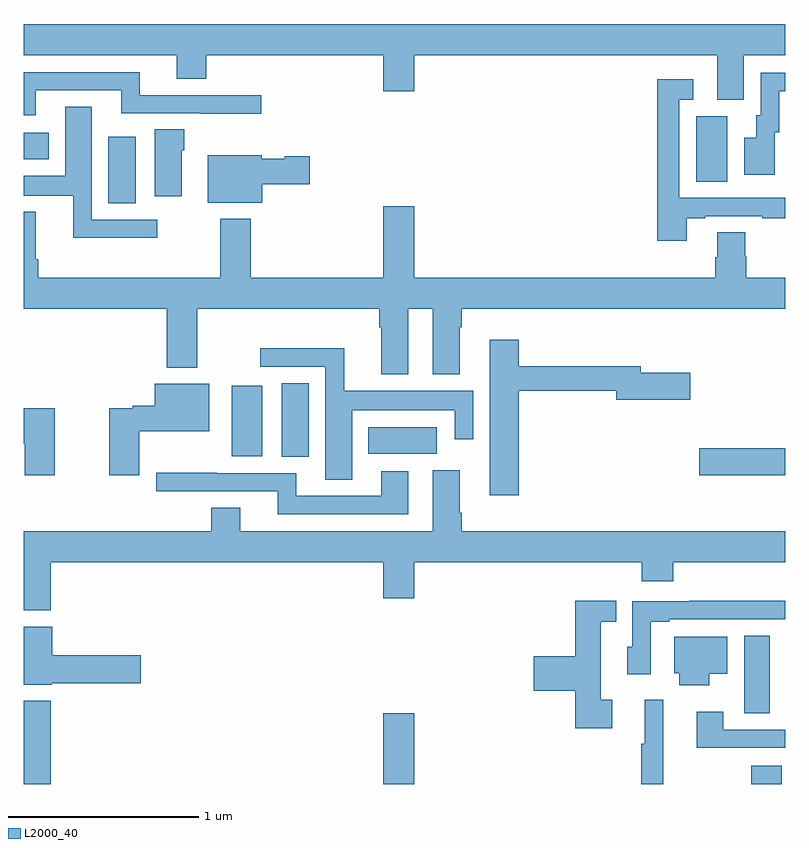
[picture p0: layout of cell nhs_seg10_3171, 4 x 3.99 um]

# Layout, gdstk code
import gdstk
lib = gdstk.Library(unit=1e-6, precision=1e-09)
def R(c, l, rs):  # rectangles x0, y0, x1, y1
    for r in rs: c.add(gdstk.rectangle(r[:2], r[2:], *l))
def P(c, l, *ps):  # polygons
    for p in ps: c.add(gdstk.Polygon(p, *l))
L2000_40 = (2000, 40)

nhs_seg10_3171 = lib.new_cell('nhs_seg10_3171')
R(nhs_seg10_3171, L2000_40, [(283,1284.5,283.142,1284.937), (284.888,1284.5,285.052,1284.871), (286.822,1284.5,286.982,1284.595), (286.784,1284.871,286.918,1285.28), (286.548,1286.122,287,1286.264), (284.354,1286.218,284.497,1286.606), (284.093,1286.222,284.254,1286.593), (284.81,1286.234,285.169,1286.374), (283.445,1287.55,283.588,1287.901), (286.532,1287.664,286.696,1288.008), (283,1287.782,283.132,1287.922)])
P(nhs_seg10_3171, L2000_40, [(286.783,1288.328),(287,1288.328),(287,1288.492),(283,1288.492),(283,1288.328),(283.805,1288.328),(283.805,1288.204),(283.958,1288.204),(283.958,1288.328),(284.888,1288.328),(284.888,1288.14),(285.052,1288.14),(285.052,1288.328),(286.643,1288.328),(286.643,1288.093),(286.783,1288.093)],
  [(283.063,1288.143),(283.511,1288.143),(283.511,1288.023),(283.927,1288.023),(283.927,1288.021),(284.248,1288.021),(284.248,1288.119),(283.61,1288.119),(283.61,1288.239),(283,1288.239),(283,1288.014),(283.063,1288.014)],
  [(286.945,1287.924),(286.969,1287.924),(286.969,1288.14),(287,1288.14),(287,1288.236),(286.872,1288.236),(286.872,1288.014),(286.847,1288.014),(286.847,1287.895),(286.784,1287.895),(286.784,1287.699),(286.945,1287.699)],
  [(286.483,1287.471),(286.579,1287.471),(286.579,1287.483),(286.879,1287.483),(286.879,1287.471),(287,1287.471),(287,1287.579),(286.443,1287.579),(286.443,1288.095),(286.516,1288.095),(286.516,1288.201),(286.327,1288.201),(286.327,1287.354),(286.483,1287.354)],
  [(283.702,1287.465),(283.357,1287.465),(283.357,1288.058),(283.217,1288.058),(283.217,1287.694),(283,1287.694),(283,1287.59),(283.259,1287.59),(283.259,1287.368),(283.702,1287.368)],
  [(283.831,1287.83),(283.844,1287.83),(283.844,1287.938),(283.688,1287.938),(283.688,1287.588),(283.831,1287.588)],
  [(284.254,1287.65),(284.503,1287.65),(284.503,1287.797),(284.37,1287.797),(284.37,1287.784),(284.25,1287.784),(284.25,1287.802),(283.967,1287.802),(283.967,1287.554),(284.254,1287.554)],
  [(284.888,1287.16),(284.192,1287.16),(284.192,1287.469),(284.032,1287.469),(284.032,1287.16),(283.076,1287.16),(283.076,1287.256),(283.063,1287.256),(283.063,1287.505),(283,1287.505),(283,1286.996),(283.751,1286.996),(283.751,1286.687),(283.911,1286.687),(283.911,1286.996),(284.867,1286.996),(284.867,1286.9),(284.879,1286.9),(284.879,1286.651),(285.019,1286.651),(285.019,1286.996),(285.149,1286.996),(285.149,1286.651),(285.289,1286.651),(285.289,1286.9),(285.302,1286.9),(285.302,1286.996),(287,1286.996),(287,1287.16),(286.796,1287.16),(286.796,1287.273),(286.791,1287.273),(286.791,1287.398),(286.643,1287.398),(286.643,1287.266),(286.631,1287.266),(286.631,1287.16),(285.052,1287.16),(285.052,1287.535),(284.888,1287.535)],
  [(285.599,1286.566),(286.112,1286.566),(286.112,1286.519),(286.501,1286.519),(286.501,1286.661),(286.24,1286.661),(286.24,1286.695),(285.599,1286.695),(285.599,1286.833),(285.449,1286.833),(285.449,1286.016),(285.599,1286.016)],
  [(284.725,1286.462),(285.264,1286.462),(285.264,1286.31),(285.36,1286.31),(285.36,1286.566),(284.684,1286.566),(284.684,1286.789),(284.241,1286.789),(284.241,1286.691),(284.585,1286.691),(284.585,1286.098),(284.725,1286.098)],
  [(283.606,1286.354),(283.975,1286.354),(283.975,1286.602),(283.688,1286.602),(283.688,1286.486),(283.572,1286.486),(283.572,1286.473),(283.448,1286.473),(283.448,1286.121),(283.606,1286.121)],
  [(283.162,1286.473),(283,1286.473),(283,1286.288),(283.004,1286.288),(283.004,1286.121),(283.162,1286.121)],
  [(283.142,1285.664),(284.888,1285.664),(284.888,1285.476),(285.052,1285.476),(285.052,1285.664),(286.247,1285.664),(286.247,1285.565),(286.412,1285.565),(286.412,1285.664),(287,1285.664),(287,1285.828),(285.302,1285.828),(285.302,1285.924),(285.289,1285.924),(285.289,1286.149),(285.149,1286.149),(285.149,1285.828),(284.137,1285.828),(284.137,1285.952),(283.985,1285.952),(283.985,1285.828),(283,1285.828),(283,1285.412),(283.142,1285.412)],
  [(285.019,1286.143),(284.879,1286.143),(284.879,1286.013),(284.431,1286.013),(284.431,1286.133),(284.015,1286.133),(284.015,1286.136),(283.695,1286.136),(283.695,1286.037),(284.333,1286.037),(284.333,1285.917),(285.019,1285.917)],
  [(286.09,1284.942),(286.03,1284.942),(286.03,1285.353),(286.112,1285.353),(286.112,1285.463),(285.896,1285.463),(285.896,1285.172),(285.678,1285.172),(285.678,1284.989),(285.896,1284.989),(285.896,1284.794),(286.09,1284.794)],
  [(286.293,1285.353),(286.39,1285.353),(286.39,1285.365),(287,1285.365),(287,1285.463),(286.495,1285.463),(286.495,1285.461),(286.197,1285.461),(286.197,1285.221),(286.169,1285.221),(286.169,1285.077),(286.293,1285.077)],
  [(283.146,1285.028),(283.615,1285.028),(283.615,1285.175),(283.15,1285.175),(283.15,1285.327),(283,1285.327),(283,1285.022),(283.146,1285.022)],
  [(286.6,1285.079),(286.696,1285.079),(286.696,1285.273),(286.418,1285.273),(286.418,1285.083),(286.442,1285.083),(286.442,1285.019),(286.6,1285.019)],
  [(286.36,1284.943),(286.262,1284.943),(286.262,1284.711),(286.243,1284.711),(286.243,1284.5),(286.36,1284.5)],
  [(287,1284.786),(286.675,1284.786),(286.675,1284.88),(286.535,1284.88),(286.535,1284.69),(287,1284.69)])

lib.write_gds('nhs_seg10_3171.gds')
